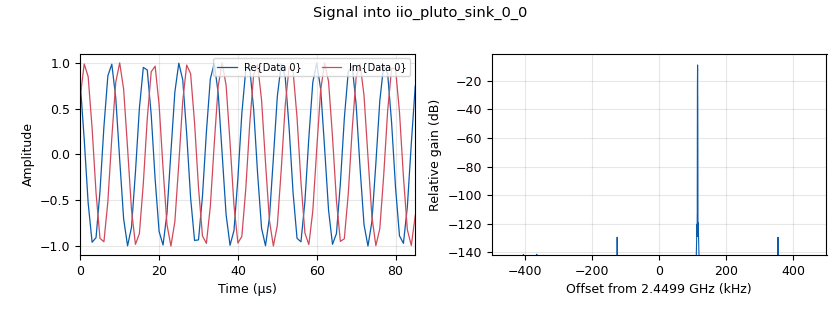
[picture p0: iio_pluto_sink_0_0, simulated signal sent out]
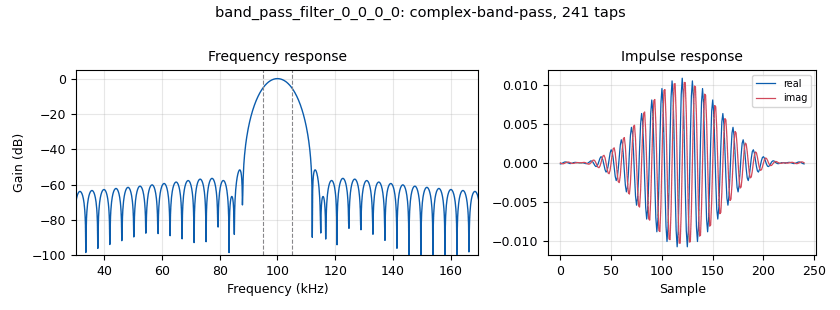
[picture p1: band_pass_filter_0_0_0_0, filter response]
options:
  parameters:
    generate_options: qt_gui
    id: run_save_phase_mag_corr_coeff_vals_2_45GHz_MAV_sweep
    output_language: python
    title: Save phase mag correcting coefficient 2.45GHz MAV sweep
  states: {}

blocks:
- name: center_frequency
  id: variable
  parameters:
    value: int(2.4499e+9)
  states: {}
- name: chan_bandwidth
  id: variable
  parameters:
    value: '500000'
  states: {}
- name: pluto_samp_rate
  id: variable
  parameters:
    value: int(1e6)
  states: {}
- name: rx_gain
  id: variable
  parameters:
    value: '60'
  states: {}
- name: samp_rate
  id: variable
  parameters:
    value: '1000000'
  states: {}
- name: src_att
  id: variable
  parameters:
    value: '30'
  states: {}
- name: analog_sig_source_x_0_0_0
  id: analog_sig_source_x
  parameters:
    amp: '1'
    freq: '115e+3'
    offset: '0'
    phase: '0'
    samp_rate: pluto_samp_rate
    type: complex
    waveform: analog.GR_COS_WAVE
  states: {}
- name: aoa_calc_phase_diff_0
  id: aoa_calc_phase_diff
  parameters:
    node_idx: '1'
    norm_spacing: '0.5'
  states: {}
- name: aoa_calc_phase_diff_0_0
  id: aoa_calc_phase_diff
  parameters:
    node_idx: '1'
    norm_spacing: '0.5'
  states: {}
- name: aoa_precise_moving_average_0
  id: aoa_precise_moving_average
  parameters:
    length: int(1e3)
    max_iter: int(1e3)
  states: {}
- name: aoa_precise_moving_average_0_0
  id: aoa_precise_moving_average
  parameters:
    length: int(1e7)
    max_iter: int(1e7)
  states: {}
- name: aoa_precise_moving_average_0_0_0
  id: aoa_precise_moving_average
  parameters:
    length: int(1e6)
    max_iter: int(1e6)
  states: {}
- name: aoa_precise_moving_average_0_0_0_0
  id: aoa_precise_moving_average
  parameters:
    length: int(1e4)
    max_iter: int(1e4)
  states: {}
- name: aoa_precise_moving_average_0_0_0_0_0
  id: aoa_precise_moving_average
  parameters:
    length: int(1e5)
    max_iter: int(1e5)
  states: {}
- name: aoa_precise_moving_average_0_0_0_0_0_0
  id: aoa_precise_moving_average
  parameters:
    length: int(1e5)
    max_iter: int(1e5)
  states: {}
- name: aoa_precise_moving_average_0_0_0_0_0_0_0
  id: aoa_precise_moving_average
  parameters:
    length: int(1e5)
    max_iter: int(1e5)
  states: {}
- name: aoa_precise_moving_average_0_0_0_0_0_0_0_0
  id: aoa_precise_moving_average
  parameters:
    length: int(1e5)
    max_iter: int(1e5)
  states: {}
- name: aoa_precise_moving_average_0_0_0_0_1
  id: aoa_precise_moving_average
  parameters:
    length: int(1e4)
    max_iter: int(1e4)
  states: {}
- name: aoa_precise_moving_average_0_0_0_0_1_0
  id: aoa_precise_moving_average
  parameters:
    length: int(1e4)
    max_iter: int(1e4)
  states: {}
- name: aoa_precise_moving_average_0_0_0_0_1_0_0
  id: aoa_precise_moving_average
  parameters:
    length: int(1e4)
    max_iter: int(1e4)
  states: {}
- name: aoa_precise_moving_average_0_0_0_1
  id: aoa_precise_moving_average
  parameters:
    length: int(1e6)
    max_iter: int(1e6)
  states: {}
- name: aoa_precise_moving_average_0_0_0_1_0
  id: aoa_precise_moving_average
  parameters:
    length: int(1e6)
    max_iter: int(1e6)
  states: {}
- name: aoa_precise_moving_average_0_0_0_1_0_0
  id: aoa_precise_moving_average
  parameters:
    length: int(1e6)
    max_iter: int(1e6)
  states: {}
- name: aoa_precise_moving_average_0_0_1
  id: aoa_precise_moving_average
  parameters:
    length: int(1e7)
    max_iter: int(1e7)
  states: {}
- name: aoa_precise_moving_average_0_0_1_0
  id: aoa_precise_moving_average
  parameters:
    length: int(1e7)
    max_iter: int(1e7)
  states: {}
- name: aoa_precise_moving_average_0_0_1_0_0
  id: aoa_precise_moving_average
  parameters:
    length: int(1e7)
    max_iter: int(1e7)
  states: {}
- name: aoa_precise_moving_average_0_1
  id: aoa_precise_moving_average
  parameters:
    length: int(1e3)
    max_iter: int(1e3)
  states: {}
- name: aoa_precise_moving_average_0_1_0
  id: aoa_precise_moving_average
  parameters:
    length: int(1e3)
    max_iter: int(1e3)
  states: {}
- name: aoa_precise_moving_average_0_1_0_0
  id: aoa_precise_moving_average
  parameters:
    length: int(1e3)
    max_iter: int(1e3)
  states: {}
- name: band_pass_filter_0_0_0_0
  id: band_pass_filter
  parameters:
    decim: '1'
    gain: '1'
    high_cutoff_freq: 105e3
    low_cutoff_freq: 95e3
    samp_rate: samp_rate
    type: fir_filter_ccc
    width: 10e3
    win: firdes.WIN_HAMMING
  states: {}
- name: band_pass_filter_0_0_0_0_0
  id: band_pass_filter
  parameters:
    decim: '1'
    gain: '1'
    high_cutoff_freq: 105e3
    low_cutoff_freq: 95e3
    samp_rate: samp_rate
    type: fir_filter_ccc
    width: 10e3
    win: firdes.WIN_HAMMING
  states: {}
- name: blocks_complex_to_mag_0
  id: blocks_complex_to_mag
  parameters: {}
  states: {}
- name: blocks_complex_to_mag_0_0
  id: blocks_complex_to_mag
  parameters: {}
  states: {}
- name: blocks_complex_to_mag_0_0_0
  id: blocks_complex_to_mag
  parameters: {}
  states: {}
- name: blocks_complex_to_mag_0_1
  id: blocks_complex_to_mag
  parameters: {}
  states: {}
- name: blocks_divide_xx_0
  id: blocks_divide_xx
  parameters:
    type: float
  states: {}
- name: blocks_divide_xx_0_0
  id: blocks_divide_xx
  parameters:
    type: float
  states: {}
- name: blocks_file_sink_0
  id: blocks_file_sink
  parameters:
    file: /home/marcin/Desktop/phase_drift_eval/phase_shift_coeff_mav_100k_nofilter_log.bin
    type: float
  states: {}
- name: blocks_file_sink_0_2
  id: blocks_file_sink
  parameters:
    file: /home/marcin/Desktop/phase_drift_eval/phase_shift_coeff_mav_1M_nofilter_log.bin
    type: float
  states: {}
- name: blocks_file_sink_0_2_0
  id: blocks_file_sink
  parameters:
    file: /home/marcin/Desktop/phase_drift_eval/mag_corr_coeff_mav_1M_nofilter_log.bin
    type: float
  states: {}
- name: blocks_file_sink_0_2_0_0
  id: blocks_file_sink
  parameters:
    file: /home/marcin/Desktop/phase_drift_eval/phase_shift_coeff_mav_1M_filter_log.bin
    type: float
  states: {}
- name: blocks_file_sink_0_2_0_0_0
  id: blocks_file_sink
  parameters:
    file: /home/marcin/Desktop/phase_drift_eval/mag_corr_coeff_mav_1M_filter_log.bin
    type: float
  states: {}
- name: blocks_file_sink_0_2_0_0_0_0
  id: blocks_file_sink
  parameters:
    file: /home/marcin/Desktop/phase_drift_eval/mag_corr_coeff_mav_10M_filter_log.bin
    type: float
  states: {}
- name: blocks_file_sink_0_2_0_0_1
  id: blocks_file_sink
  parameters:
    file: /home/marcin/Desktop/phase_drift_eval/phase_shift_coeff_mav_10M_filter_log.bin
    type: float
  states: {}
- name: blocks_file_sink_0_2_0_1
  id: blocks_file_sink
  parameters:
    file: /home/marcin/Desktop/phase_drift_eval/mag_corr_coeff_mav_10M_nofilter_log.bin
    type: float
  states: {}
- name: blocks_file_sink_0_2_1
  id: blocks_file_sink
  parameters:
    file: /home/marcin/Desktop/phase_drift_eval/phase_shift_coeff_mav_10M_nofilter_log.bin
    type: float
  states: {}
- name: blocks_file_sink_0_3
  id: blocks_file_sink
  parameters:
    file: /home/marcin/Desktop/phase_drift_eval/phase_shift_coeff_mav_10k_nofilter_log.bin
    type: float
  states: {}
- name: blocks_file_sink_0_3_0
  id: blocks_file_sink
  parameters:
    file: /home/marcin/Desktop/phase_drift_eval/phase_shift_coeff_mav_1k_nofilter_log.bin
    type: float
  states: {}
- name: blocks_file_sink_0_3_0_0
  id: blocks_file_sink
  parameters:
    file: /home/marcin/Desktop/phase_drift_eval/mag_corr_coeff_mav_1k_nofilter_log.bin
    type: float
  states: {}
- name: blocks_file_sink_0_3_0_0_0
  id: blocks_file_sink
  parameters:
    file: /home/marcin/Desktop/phase_drift_eval/phase_shift_coeff_mav_1k_filter_log.bin
    type: float
  states: {}
- name: blocks_file_sink_0_3_0_0_0_0
  id: blocks_file_sink
  parameters:
    file: /home/marcin/Desktop/phase_drift_eval/mag_corr_coeff_mav_1k_filter_log.bin
    type: float
  states: {}
- name: blocks_file_sink_0_3_1
  id: blocks_file_sink
  parameters:
    file: /home/marcin/Desktop/phase_drift_eval/mag_corr_coeff_mav_10k_nofilter_log.bin
    type: float
  states: {}
- name: blocks_file_sink_0_3_1_0
  id: blocks_file_sink
  parameters:
    file: /home/marcin/Desktop/phase_drift_eval/phase_shift_coeff_mav_10k_filter_log.bin
    type: float
  states: {}
- name: blocks_file_sink_0_3_1_0_0
  id: blocks_file_sink
  parameters:
    file: /home/marcin/Desktop/phase_drift_eval/mag_corr_coeff_mav_10k_filter_log.bin
    type: float
  states: {}
- name: blocks_file_sink_0_4
  id: blocks_file_sink
  parameters:
    file: /home/marcin/Desktop/phase_drift_eval/mag_corr_coeff_mav_100k_nofilter_log.bin
    type: float
  states: {}
- name: blocks_file_sink_0_4_0
  id: blocks_file_sink
  parameters:
    file: /home/marcin/Desktop/phase_drift_eval/phase_shift_coeff_mav_100k_filter_log.bin
    type: float
  states: {}
- name: blocks_file_sink_0_4_0_0
  id: blocks_file_sink
  parameters:
    file: /home/marcin/Desktop/phase_drift_eval/mag_corr_coeff_mav_100k_filter_log.bin
    type: float
  states: {}
- name: blocks_skiphead_0_0_0
  id: blocks_skiphead
  parameters:
    num_items: '1000000'
    type: complex
  states: {}
- name: blocks_skiphead_0_0_0_0
  id: blocks_skiphead
  parameters:
    num_items: '1000000'
    type: complex
  states: {}
- name: fir_filter_xxx_0
  id: fir_filter_xxx
  parameters:
    decim: '10000'
    taps: '1'
    type: fff
  states: {}
- name: fir_filter_xxx_0_2
  id: fir_filter_xxx
  parameters:
    decim: '10000'
    taps: '1'
    type: fff
  states: {}
- name: fir_filter_xxx_0_2_0
  id: fir_filter_xxx
  parameters:
    decim: '10000'
    taps: '1'
    type: fff
  states: {}
- name: fir_filter_xxx_0_2_0_0
  id: fir_filter_xxx
  parameters:
    decim: '10000'
    taps: '1'
    type: fff
  states: {}
- name: fir_filter_xxx_0_2_0_0_0
  id: fir_filter_xxx
  parameters:
    decim: '10000'
    taps: '1'
    type: fff
  states: {}
- name: fir_filter_xxx_0_2_0_0_0_0
  id: fir_filter_xxx
  parameters:
    decim: '10000'
    taps: '1'
    type: fff
  states: {}
- name: fir_filter_xxx_0_2_0_0_1
  id: fir_filter_xxx
  parameters:
    decim: '10000'
    taps: '1'
    type: fff
  states: {}
- name: fir_filter_xxx_0_2_0_1
  id: fir_filter_xxx
  parameters:
    decim: '10000'
    taps: '1'
    type: fff
  states: {}
- name: fir_filter_xxx_0_2_1
  id: fir_filter_xxx
  parameters:
    decim: '10000'
    taps: '1'
    type: fff
  states: {}
- name: fir_filter_xxx_0_3
  id: fir_filter_xxx
  parameters:
    decim: '10000'
    taps: '1'
    type: fff
  states: {}
- name: fir_filter_xxx_0_3_0
  id: fir_filter_xxx
  parameters:
    decim: '10000'
    taps: '1'
    type: fff
  states: {}
- name: fir_filter_xxx_0_3_0_0
  id: fir_filter_xxx
  parameters:
    decim: '10000'
    taps: '1'
    type: fff
  states: {}
- name: fir_filter_xxx_0_3_0_0_0
  id: fir_filter_xxx
  parameters:
    decim: '10000'
    taps: '1'
    type: fff
  states: {}
- name: fir_filter_xxx_0_3_0_0_0_0
  id: fir_filter_xxx
  parameters:
    decim: '10000'
    taps: '1'
    type: fff
  states: {}
- name: fir_filter_xxx_0_3_1
  id: fir_filter_xxx
  parameters:
    decim: '10000'
    taps: '1'
    type: fff
  states: {}
- name: fir_filter_xxx_0_3_1_0
  id: fir_filter_xxx
  parameters:
    decim: '10000'
    taps: '1'
    type: fff
  states: {}
- name: fir_filter_xxx_0_3_1_0_0
  id: fir_filter_xxx
  parameters:
    decim: '10000'
    taps: '1'
    type: fff
  states: {}
- name: fir_filter_xxx_0_4
  id: fir_filter_xxx
  parameters:
    decim: '10000'
    taps: '1'
    type: fff
  states: {}
- name: fir_filter_xxx_0_4_0
  id: fir_filter_xxx
  parameters:
    decim: '10000'
    taps: '1'
    type: fff
  states: {}
- name: fir_filter_xxx_0_4_0_0
  id: fir_filter_xxx
  parameters:
    decim: '10000'
    taps: '1'
    type: fff
  states: {}
- name: iio_pluto_sink_0_0
  id: iio_pluto_sink
  parameters:
    attenuation1: src_att
    auto_filter: 'True'
    bandwidth: pluto_samp_rate
    buffer_size: 2**18
    cyclic: 'False'
    frequency: center_frequency
    samplerate: pluto_samp_rate
  states: {}
- name: qtgui_number_sink_0
  id: qtgui_number_sink
  parameters:
    graph_type: qtgui.NUM_GRAPH_HORIZ
    label1: Phase
    label2: Mag
    max: '2'
    min: '-2'
    nconnections: '2'
    type: float
  states: {}
- name: qtgui_number_sink_1
  id: qtgui_number_sink
  parameters:
    graph_type: qtgui.NUM_GRAPH_HORIZ
    name: '"Phase_coeff_with_filter"'
    type: float
  states: {}
- name: qtgui_number_sink_1_0
  id: qtgui_number_sink
  parameters:
    graph_type: qtgui.NUM_GRAPH_HORIZ
    name: '"Phase_coeff_no_filter"'
    type: float
  states: {}
- name: uhd_usrp_source_0_0
  id: uhd_usrp_source
  parameters:
    ant0: RX2
    ant1: RX2
    bw0: samp_rate
    bw1: samp_rate
    center_freq0: center_frequency
    center_freq1: center_frequency
    clock_source0: internal
    dc_offs_enb0: 'True'
    dc_offs_enb1: 'True'
    dev_args: '""'
    gain0: rx_gain
    gain1: rx_gain
    iq_imbal_enb0: 'False'
    iq_imbal_enb1: 'False'
    nchan: '2'
    norm_gain0: 'False'
    norm_gain1: 'False'
    samp_rate: samp_rate
    sync: pc_clock
    type: fc32
  states: {}

connections:
- [analog_sig_source_x_0_0_0, '0', iio_pluto_sink_0_0, '0']
- [aoa_calc_phase_diff_0, '0', aoa_precise_moving_average_0, '0']
- [aoa_calc_phase_diff_0, '0', aoa_precise_moving_average_0_0, '0']
- [aoa_calc_phase_diff_0, '0', aoa_precise_moving_average_0_0_0, '0']
- [aoa_calc_phase_diff_0, '0', aoa_precise_moving_average_0_0_0_0, '0']
- [aoa_calc_phase_diff_0, '0', aoa_precise_moving_average_0_0_0_0_0, '0']
- [aoa_calc_phase_diff_0, '0', qtgui_number_sink_0, '0']
- [aoa_calc_phase_diff_0_0, '0', aoa_precise_moving_average_0_0_0_0_0_0_0, '0']
- [aoa_calc_phase_diff_0_0, '0', aoa_precise_moving_average_0_0_0_0_1_0, '0']
- [aoa_calc_phase_diff_0_0, '0', aoa_precise_moving_average_0_0_0_1_0, '0']
- [aoa_calc_phase_diff_0_0, '0', aoa_precise_moving_average_0_0_1_0, '0']
- [aoa_calc_phase_diff_0_0, '0', aoa_precise_moving_average_0_1_0, '0']
- [aoa_precise_moving_average_0, '0', fir_filter_xxx_0_3_0, '0']
- [aoa_precise_moving_average_0_0, '0', fir_filter_xxx_0_2_1, '0']
- [aoa_precise_moving_average_0_0, '0', qtgui_number_sink_1_0, '0']
- [aoa_precise_moving_average_0_0_0, '0', fir_filter_xxx_0_2, '0']
- [aoa_precise_moving_average_0_0_0_0, '0', fir_filter_xxx_0_3, '0']
- [aoa_precise_moving_average_0_0_0_0_0, '0', fir_filter_xxx_0, '0']
- [aoa_precise_moving_average_0_0_0_0_0_0, '0', fir_filter_xxx_0_4, '0']
- [aoa_precise_moving_average_0_0_0_0_0_0_0, '0', fir_filter_xxx_0_4_0, '0']
- [aoa_precise_moving_average_0_0_0_0_0_0_0_0, '0', fir_filter_xxx_0_4_0_0, '0']
- [aoa_precise_moving_average_0_0_0_0_1, '0', fir_filter_xxx_0_3_1, '0']
- [aoa_precise_moving_average_0_0_0_0_1_0, '0', fir_filter_xxx_0_3_1_0, '0']
- [aoa_precise_moving_average_0_0_0_0_1_0_0, '0', fir_filter_xxx_0_3_1_0_0, '0']
- [aoa_precise_moving_average_0_0_0_1, '0', fir_filter_xxx_0_2_0, '0']
- [aoa_precise_moving_average_0_0_0_1_0, '0', fir_filter_xxx_0_2_0_0, '0']
- [aoa_precise_moving_average_0_0_0_1_0_0, '0', fir_filter_xxx_0_2_0_0_0, '0']
- [aoa_precise_moving_average_0_0_1, '0', fir_filter_xxx_0_2_0_1, '0']
- [aoa_precise_moving_average_0_0_1_0, '0', fir_filter_xxx_0_2_0_0_1, '0']
- [aoa_precise_moving_average_0_0_1_0, '0', qtgui_number_sink_1, '0']
- [aoa_precise_moving_average_0_0_1_0_0, '0', fir_filter_xxx_0_2_0_0_0_0, '0']
- [aoa_precise_moving_average_0_1, '0', fir_filter_xxx_0_3_0_0, '0']
- [aoa_precise_moving_average_0_1_0, '0', fir_filter_xxx_0_3_0_0_0, '0']
- [aoa_precise_moving_average_0_1_0_0, '0', fir_filter_xxx_0_3_0_0_0_0, '0']
- [band_pass_filter_0_0_0_0, '0', aoa_calc_phase_diff_0_0, '1']
- [band_pass_filter_0_0_0_0, '0', blocks_complex_to_mag_0_1, '0']
- [band_pass_filter_0_0_0_0_0, '0', aoa_calc_phase_diff_0_0, '0']
- [band_pass_filter_0_0_0_0_0, '0', blocks_complex_to_mag_0_0_0, '0']
- [blocks_complex_to_mag_0, '0', blocks_divide_xx_0, '0']
- [blocks_complex_to_mag_0_0, '0', blocks_divide_xx_0, '1']
- [blocks_complex_to_mag_0_0_0, '0', blocks_divide_xx_0_0, '1']
- [blocks_complex_to_mag_0_1, '0', blocks_divide_xx_0_0, '0']
- [blocks_divide_xx_0, '0', aoa_precise_moving_average_0_0_0_0_0_0, '0']
- [blocks_divide_xx_0, '0', aoa_precise_moving_average_0_0_0_0_1, '0']
- [blocks_divide_xx_0, '0', aoa_precise_moving_average_0_0_0_1, '0']
- [blocks_divide_xx_0, '0', aoa_precise_moving_average_0_0_1, '0']
- [blocks_divide_xx_0, '0', aoa_precise_moving_average_0_1, '0']
- [blocks_divide_xx_0, '0', qtgui_number_sink_0, '1']
- [blocks_divide_xx_0_0, '0', aoa_precise_moving_average_0_0_0_0_0_0_0_0, '0']
- [blocks_divide_xx_0_0, '0', aoa_precise_moving_average_0_0_0_0_1_0_0, '0']
- [blocks_divide_xx_0_0, '0', aoa_precise_moving_average_0_0_0_1_0_0, '0']
- [blocks_divide_xx_0_0, '0', aoa_precise_moving_average_0_0_1_0_0, '0']
- [blocks_divide_xx_0_0, '0', aoa_precise_moving_average_0_1_0_0, '0']
- [blocks_skiphead_0_0_0, '0', aoa_calc_phase_diff_0, '0']
- [blocks_skiphead_0_0_0, '0', band_pass_filter_0_0_0_0_0, '0']
- [blocks_skiphead_0_0_0, '0', blocks_complex_to_mag_0_0, '0']
- [blocks_skiphead_0_0_0_0, '0', aoa_calc_phase_diff_0, '1']
- [blocks_skiphead_0_0_0_0, '0', band_pass_filter_0_0_0_0, '0']
- [blocks_skiphead_0_0_0_0, '0', blocks_complex_to_mag_0, '0']
- [fir_filter_xxx_0, '0', blocks_file_sink_0, '0']
- [fir_filter_xxx_0_2, '0', blocks_file_sink_0_2, '0']
- [fir_filter_xxx_0_2_0, '0', blocks_file_sink_0_2_0, '0']
- [fir_filter_xxx_0_2_0_0, '0', blocks_file_sink_0_2_0_0, '0']
- [fir_filter_xxx_0_2_0_0_0, '0', blocks_file_sink_0_2_0_0_0, '0']
- [fir_filter_xxx_0_2_0_0_0_0, '0', blocks_file_sink_0_2_0_0_0_0, '0']
- [fir_filter_xxx_0_2_0_0_1, '0', blocks_file_sink_0_2_0_0_1, '0']
- [fir_filter_xxx_0_2_0_1, '0', blocks_file_sink_0_2_0_1, '0']
- [fir_filter_xxx_0_2_1, '0', blocks_file_sink_0_2_1, '0']
- [fir_filter_xxx_0_3, '0', blocks_file_sink_0_3, '0']
- [fir_filter_xxx_0_3_0, '0', blocks_file_sink_0_3_0, '0']
- [fir_filter_xxx_0_3_0_0, '0', blocks_file_sink_0_3_0_0, '0']
- [fir_filter_xxx_0_3_0_0_0, '0', blocks_file_sink_0_3_0_0_0, '0']
- [fir_filter_xxx_0_3_0_0_0_0, '0', blocks_file_sink_0_3_0_0_0_0, '0']
- [fir_filter_xxx_0_3_1, '0', blocks_file_sink_0_3_1, '0']
- [fir_filter_xxx_0_3_1_0, '0', blocks_file_sink_0_3_1_0, '0']
- [fir_filter_xxx_0_3_1_0_0, '0', blocks_file_sink_0_3_1_0_0, '0']
- [fir_filter_xxx_0_4, '0', blocks_file_sink_0_4, '0']
- [fir_filter_xxx_0_4_0, '0', blocks_file_sink_0_4_0, '0']
- [fir_filter_xxx_0_4_0_0, '0', blocks_file_sink_0_4_0_0, '0']
- [uhd_usrp_source_0_0, '0', blocks_skiphead_0_0_0, '0']
- [uhd_usrp_source_0_0, '1', blocks_skiphead_0_0_0_0, '0']

metadata:
  file_format: 1
